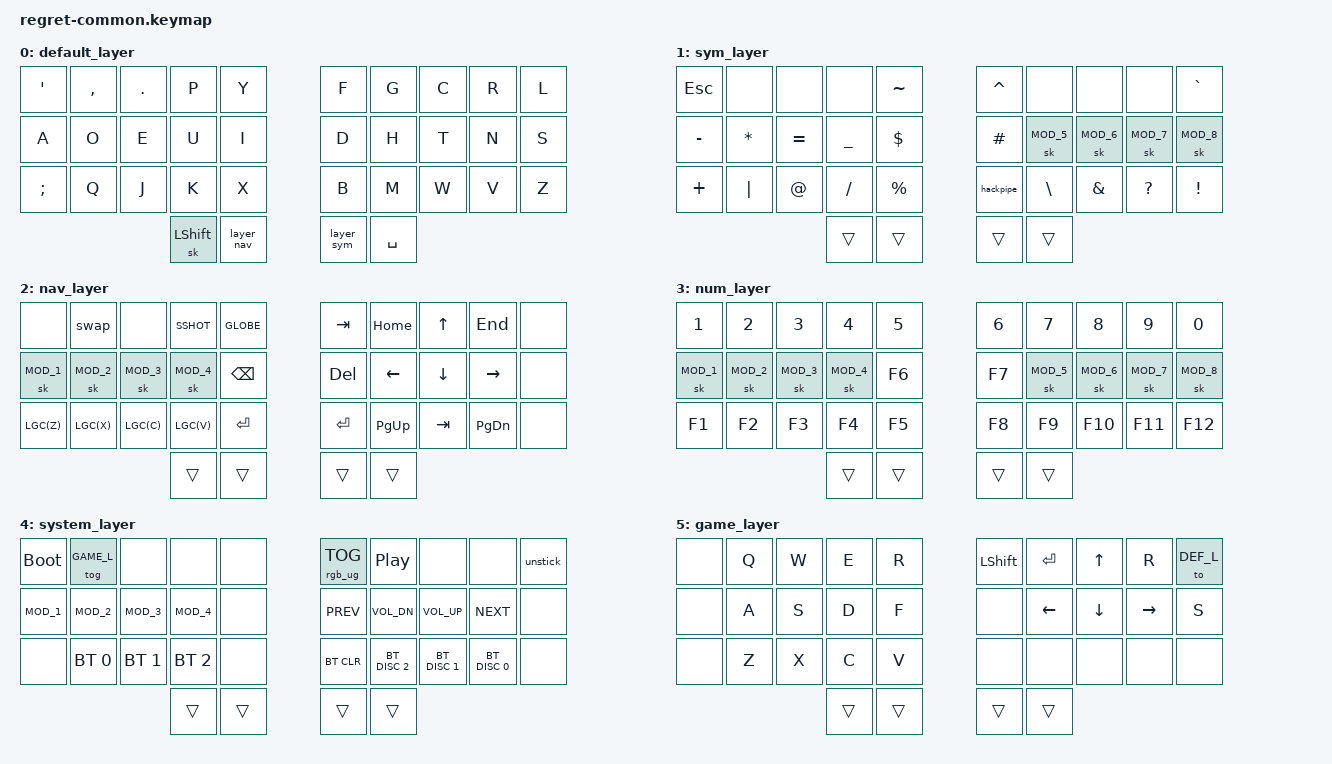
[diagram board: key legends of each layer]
// vim: set ts=4 sw=4 ft=devicetree:
// Common elements for Re-gret keymap

#include <behaviors.dtsi>
#include <dt-bindings/zmk/keys.h>
#include <dt-bindings/zmk/rgb.h>
#include <dt-bindings/zmk/bt.h>

#define KEYS_L 0 1 2 3 4 10 11 12 13 14 20 21 22 23 24
#define KEYS_R 5 6 7 8 9 15 16 17 18 19 25 26 27 28 29
#define KEYS_T 30 31  32 33

#define DEF_L 0
#define SYM_L 1
#define NAV_L 2
#define NUM_L 3
#define SYS_L 4
#define GAME_L 5

#define NON_SYS_LAYERS DEF_L SYM_L NAV_L NUM_L GAME_L

// How long a key must be pressed to trigger Hold behavior
#define HRM_TERM 280
// If you press a tapped hold-tap again within quick-tap-ms milliseconds of the
// first press, it will always trigger the tap behavior
#define HRM_QUICK_TAP 175
// This effectively disables the hold-tap when typing quickly. As a rule of
// thumb, you want to set it to at least 10500/x where x is your (relaxed) WPM
#define HRM_IDLE (10500 / 50)
#define COMBO_IDLE HRM_IDLE

#define STICKY_KEY_TIMEOUT 1000

#define RED_H 340
#define RED_S 82
#define YELLOW_H 70
#define YELLOW_S 100
#define GREEN_H 160
#define GREEN_S 100
#define VIOLET_H 250
#define VIOLET_S 100

// Not-so-sticky key, see nk behavior def below
#define SK(KEY) &nk KEY KEY

&sk {// sticky-key config
	release-after-ms = <STICKY_KEY_TIMEOUT>;
	quick-release;
};

/ {
	behaviors {
		td_boot: double_tap_bootloader {
			compatible = "zmk,behavior-tap-dance";
			#binding-cells = <0>;
			tapping-term-ms = <200>;
			bindings = <&none>, <&bootloader>;
		};
		
		swap: swapper {
			compatible = "zmk,behavior-tri-state";
			#binding-cells = <0>;
			bindings = <&kt LGorA>, <&kp TAB>, <&kt LGorA>;
			// 0 is Q, 32 is shift
			ignored-key-positions = <0 32>;
		};
	};
	
	macros {
		layer_sym: layer_sym {
			label = "sym layer color";
			compatible = "zmk,behavior-macro";
			#binding-cells = <0>;
			wait-ms = <0>;
			tap-ms = <0>;
			bindings
			= <&macro_press &mo SYM_L>
			, <&macro_tap &rgb_ug RGB_COLOR_HSB(RED_H, 50, 100)>
			, <&macro_pause_for_release>
			, <&macro_release &mo SYM_L>
			, <&macro_tap &rgb_ug RGB_COLOR_HSB(GREEN_H, GREEN_S, 50)>
			;
		};
		
		layer_nav: layer_nav {
			label = "nav layer color";
			compatible = "zmk,behavior-macro";
			#binding-cells = <0>;
			wait-ms = <0>;
			tap-ms = <0>;
			bindings
			= <&macro_press &mo NAV_L>
			, <&macro_tap &rgb_ug RGB_COLOR_HSB(YELLOW_H, 25, 100)>
			, <&macro_pause_for_release>
			, <&macro_release &mo NAV_L>
			, <&macro_tap &rgb_ug RGB_COLOR_HSB(GREEN_H, GREEN_S, 50)>
			;
		};
		
		unstick: unstick {
			label = "ZM_unstick";
			compatible = "zmk,behavior-macro";
			#binding-cells = <0>;
			bindings = <&kp LSHIFT &kp RSHIFT &kp LCTRL &kp RCTRL &kp LALT &kp RALT &kp LGUI &kp RGUI>;
		};
		
		glo: glo {
			compatible = "zmk,behavior-macro-one-param";
			label = "globe pseudo mod func";
			#binding-cells = <1>;
			bindings
			= <&macro_press &kp GLOBE>
			, <&macro_param_1to1>
			, <&macro_tap &kp MACRO_PLACEHOLDER>
			, <&macro_release &kp GLOBE>
			;
		};
		
		// |>
		ZMK_MACRO(hackpipe, bindings = <&kp PIPE &kp GT &kp SPACE>;)
	};
	
	combos {
		compatible = "zmk,combos";
		
	cw  { key-positions = <0 9>; bindings = <&caps_word>; layers = <DEF_L>; timeout-ms = <100>; };
		
	vlbkt { key-positions = <1 11>; bindings = <&kp LBKT>; layers = <NON_SYS_LAYERS>; require-prior-idle-ms = <COMBO_IDLE>; };
	vlpar { key-positions = <2 12>; bindings = <&kp LPAR>; layers = <NON_SYS_LAYERS>; require-prior-idle-ms = <COMBO_IDLE>; };
	vlbrc { key-positions = <3 13>; bindings = <&kp LBRC>; layers = <NON_SYS_LAYERS>; require-prior-idle-ms = <COMBO_IDLE>; };
	vrbrc { key-positions = <6 16>; bindings = <&kp RBRC>; layers = <NON_SYS_LAYERS>; require-prior-idle-ms = <COMBO_IDLE>; };
	vrpar { key-positions = <7 17>; bindings = <&kp RPAR>; layers = <NON_SYS_LAYERS>; require-prior-idle-ms = <COMBO_IDLE>; };
	vrbkt { key-positions = <8 18>; bindings = <&kp RBKT>; layers = <NON_SYS_LAYERS>; require-prior-idle-ms = <COMBO_IDLE>; };
		
	lshftc { key-positions = <12 13>; bindings = <&sk LSHFT>; layers = <NON_SYS_LAYERS>; require-prior-idle-ms = <COMBO_IDLE>; };
	rshftc { key-positions = <16 17>; bindings = <&sk RSHFT>; layers = <NON_SYS_LAYERS>; require-prior-idle-ms = <COMBO_IDLE>; };
		
	caps  { key-positions = <20 29>; bindings = <&kp CAPSLOCK>; layers = <DEF_L>; timeout-ms = <100>; };
		
	esc { key-positions = <11 12 13>; bindings = <&kp ESC>; layers = <DEF_L>; };
	ret { key-positions = <16 17 18>; bindings = <&kp RET>; layers = <DEF_L>; };
		
	sall { key-positions = <21 22>; bindings = <&kp LGorC(A)>; layers = <NAV_L>; };
		
		/* Activate system layer on inner thumb press */
		sys {
			key-positions = <30 33>;
			bindings = <&mo SYS_L>;
			require-prior-idle-ms = <COMBO_IDLE>;
		};
	};
	
	conditional_layers {
		compatible = "zmk,conditional-layers";
		tri_layer {
			if-layers = <SYM_L NAV_L>;
			then-layer = <NUM_L>;
		};
	};
	
	keymap {
		compatible = "zmk,keymap";
		
		default_layer {
			bindings = <
			&kp SQT    &kp COMMA  &kp DOT   &kp P      &kp Y     &kp F     &kp G     &kp C     &kp R     &kp L
			&kp A      &kp O      &kp E     &kp U      &kp I     &kp D     &kp H     &kp T     &kp N     &kp S
			&kp SEMI   &kp Q      &kp J     &kp K      &kp X     &kp B     &kp M     &kp W     &kp V     &kp Z
			&sk LSHFT   &layer_nav &layer_sym  &kp SPACE
			>;
		};
		
		sym_layer {
			bindings = <
			&kp ESC    &none      &none       &none           &kp TILDE     &kp CARET       &none          &none       &none      &kp GRAVE
			&kp MINUS  &kp STAR   &kp EQUAL   &kp UNDER       &kp DLLR      &kp HASH        &sk MOD_5      &sk MOD_6   &sk MOD_7  &sk MOD_8
			&kp PLUS   &kp PIPE   &kp AT      &kp FSLH        &kp PRCNT     &hackpipe       &kp BSLH       &kp AMPS    &kp QMARK  &kp EXCL
			&trans          &trans        &trans          &trans
			>;
		};
		
		// TODO: map thumb left
		nav_layer {
			bindings = <
			&none      &swap       &none       &kp SSHOT      &kp GLOBE &kp TAB    &kp HOME    &kp UP      &kp END    &none
			&sk MOD_1  &sk MOD_2   &sk MOD_3   &sk MOD_4      &kp BSPC  &kp DELETE &kp LEFT    &kp DOWN    &kp RIGHT  &none
			&kp LGC(Z) &kp LGC(X)  &kp LGC(C)  &kp LGC(V)     &kp RET   &kp RET    &kp PG_UP   &kp TAB     &kp PG_DN  &none
			&trans         &trans       &trans     &trans
			>;
		};
		
		// TODO: map thumb right
		num_layer {
			bindings = <
			&kp N1     &kp N2   &kp N3      &kp N4          &kp N5     &kp N6      &kp N7         &kp N8      &kp N9     &kp N0
			&sk MOD_1  &sk MOD_2 &sk MOD_3  &sk MOD_4       &kp F6     &kp F7      &sk MOD_5      &sk MOD_6   &sk MOD_7  &sk MOD_8
			&kp F1     &kp F2   &kp F3      &kp F4          &kp F5     &kp F8      &kp F9         &kp F10     &kp F11    &kp F12
			&trans          &trans        &trans      &trans
			>;
		};
		
		system_layer {
			bindings = <
			&bootloader &tog GAME_L  &none        &none         &none  &rgb_ug RGB_TOG &kp C_PP      &none          &none         &unstick
			&kp MOD_1  &kp MOD_2    &kp MOD_3    &kp MOD_4     &none  &kp C_PREV   &kp C_VOL_DN  &kp C_VOL_UP   &kp C_NEXT    &none
			&none      &bt BT_SEL 0 &bt BT_SEL 1 &bt BT_SEL 2  &none  &bt BT_CLR   &bt BT_DISC 2 &bt BT_DISC 1  &bt BT_DISC 0 &none
			&trans     &trans   &trans          &trans
			>;
		};
		
		game_layer {
			bindings = <
			&none      &kp Q      &kp W     &kp E      &kp R     &kp LSHFT  &kp ENTER     &kp UP     &kp R     &to DEF_L
			&none      &kp A      &kp S     &kp D      &kp F     &none      &kp LEFT      &kp DOWN   &kp RIGHT &kp S
			&none      &kp Z      &kp X     &kp C      &kp V     &none      &none         &none      &none     &none
			&trans   &trans    &trans       &trans
			>;
		};
		
	};
};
